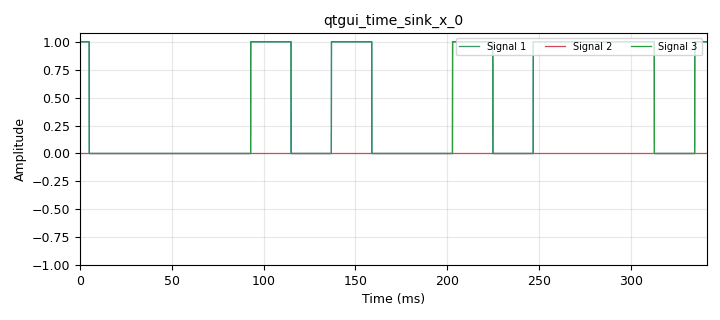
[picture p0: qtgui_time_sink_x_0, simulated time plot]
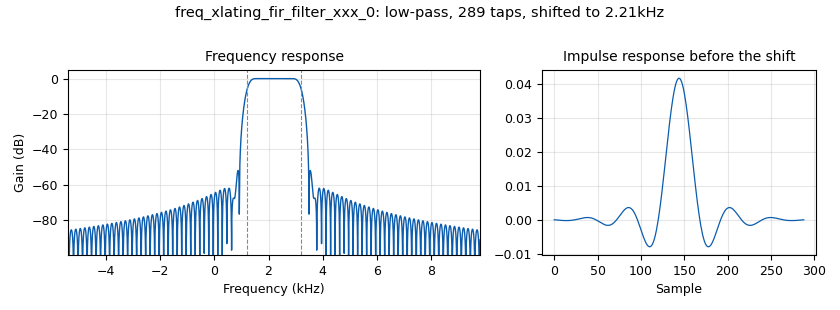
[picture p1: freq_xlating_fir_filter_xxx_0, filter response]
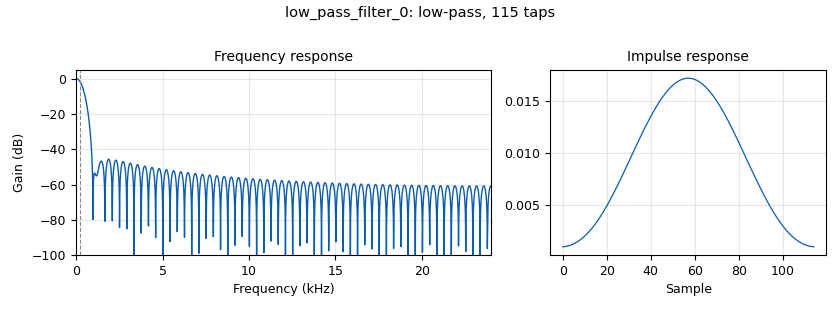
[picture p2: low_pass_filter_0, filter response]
options:
  parameters:
    author: Francisco Nicolás Pérez Fernández
    generate_options: qt_gui
    id: FSK_example
    output_language: python
    title: FSK Example
  states: {}

blocks:
- name: baud
  id: variable
  parameters:
    value: 1/(22e-3)
  states: {}
- name: center
  id: variable
  parameters:
    value: 2.21e3
  states: {}
- name: delay
  id: variable_qtgui_range
  parameters:
    label: Delay
    orient: Qt.Horizontal
    start: '0'
    step: '1'
    stop: '250'
    value: '202'
  states: {}
- name: fsk_deviation
  id: variable
  parameters:
    value: '170'
  states: {}
- name: inp_amp
  id: variable
  parameters:
    value: '68e-3'
  states: {}
- name: repeat
  id: variable
  parameters:
    value: (int)(samp_rate*0.022)
  states: {}
- name: samp_rate
  id: variable
  parameters:
    value: 48e3
  states: {}
- name: sq_lvl
  id: variable_qtgui_range
  parameters:
    label: Squelch
    orient: Qt.Horizontal
    start: '-100'
    step: '5'
    stop: '0'
    value: '-70'
  states: {}
- name: vco_max
  id: variable
  parameters:
    value: 2.5e3
  states: {}
- name: vco_offset
  id: variable
  parameters:
    value: '850e-3'
  states: {}
- name: analog_quadrature_demod_cf_0
  id: analog_quadrature_demod_cf
  parameters:
    gain: 128.177e3
  states: {}
- name: analog_random_source_x_0
  id: analog_random_source_x
  parameters:
    max: '256'
    min: '0'
    num_samps: '1024'
    repeat: 'True'
    type: byte
  states: {}
- name: analog_simple_squelch_cc_0
  id: analog_simple_squelch_cc
  parameters:
    alpha: '1'
    threshold: sq_lvl
  states: {}
- name: blocks_add_const_vxx_0
  id: blocks_add_const_vxx
  parameters:
    const: vco_offset
    type: float
  states: {}
- name: blocks_delay_0
  id: blocks_delay
  parameters:
    delay: delay
    type: float
  states: {}
- name: blocks_multiply_const_vxx_0
  id: blocks_multiply_const_vxx
  parameters:
    const: inp_amp
    type: float
  states: {}
- name: blocks_repeat_0
  id: blocks_repeat
  parameters:
    interp: (int)(samp_rate*0.022)
    type: byte
  states: {}
- name: blocks_sub_xx_0
  id: blocks_sub_xx
  parameters:
    type: float
  states: {}
- name: blocks_throttle_0
  id: blocks_throttle
  parameters:
    samples_per_second: samp_rate
    type: byte
  states: {}
- name: blocks_uchar_to_float_0
  id: blocks_uchar_to_float
  parameters: {}
  states: {}
- name: blocks_uchar_to_float_1
  id: blocks_uchar_to_float
  parameters: {}
  states: {}
- name: blocks_unpack_k_bits_bb_0
  id: blocks_unpack_k_bits_bb
  parameters:
    k: '8'
  states: {}
- name: blocks_vco_f_0
  id: blocks_vco_f
  parameters:
    amplitude: '500e-3'
    samp_rate: 48e3
    sensitivity: 2 * math.pi * vco_max
  states: {}
- name: digital_binary_slicer_fb_0
  id: digital_binary_slicer_fb
  parameters: {}
  states: {}
- name: freq_xlating_fir_filter_xxx_0
  id: freq_xlating_fir_filter_xxx
  parameters:
    center_freq: center
    decim: '1'
    samp_rate: samp_rate
    taps: firdes.low_pass(1.0,samp_rate,1000,400)
    type: fcc
  states: {}
- name: low_pass_filter_0
  id: low_pass_filter
  parameters:
    cutoff_freq: '200'
    decim: '1'
    gain: '1'
    samp_rate: samp_rate
    type: fir_filter_fff
    width: 1e3
    win: firdes.WIN_HAMMING
  states: {}
- name: qtgui_time_sink_x_0
  id: qtgui_time_sink_x
  parameters:
    grid: 'True'
    nconnections: '3'
    size: '16384'
    srate: samp_rate
    type: float
    update_time: '0.00001'
  states: {}
- name: virtual_sink_0
  id: virtual_sink
  parameters:
    stream_id: xmt_data
  states: {}
- name: virtual_sink_1
  id: virtual_sink
  parameters:
    stream_id: fsk_out
  states: {}
- name: virtual_source_0
  id: virtual_source
  parameters:
    stream_id: xmt_data
  states: {}
- name: virtual_source_0_0
  id: virtual_source
  parameters:
    stream_id: fsk_out
  states: {}
- name: virtual_source_0_1
  id: virtual_source
  parameters:
    stream_id: xmt_data
  states: {}

connections:
- [analog_quadrature_demod_cf_0, '0', digital_binary_slicer_fb_0, '0']
- [analog_random_source_x_0, '0', blocks_unpack_k_bits_bb_0, '0']
- [analog_simple_squelch_cc_0, '0', analog_quadrature_demod_cf_0, '0']
- [blocks_add_const_vxx_0, '0', blocks_vco_f_0, '0']
- [blocks_delay_0, '0', blocks_sub_xx_0, '1']
- [blocks_delay_0, '0', qtgui_time_sink_x_0, '2']
- [blocks_multiply_const_vxx_0, '0', blocks_add_const_vxx_0, '0']
- [blocks_repeat_0, '0', blocks_throttle_0, '0']
- [blocks_sub_xx_0, '0', qtgui_time_sink_x_0, '1']
- [blocks_throttle_0, '0', blocks_uchar_to_float_0, '0']
- [blocks_uchar_to_float_0, '0', virtual_sink_0, '0']
- [blocks_uchar_to_float_1, '0', blocks_sub_xx_0, '0']
- [blocks_uchar_to_float_1, '0', qtgui_time_sink_x_0, '0']
- [blocks_unpack_k_bits_bb_0, '0', blocks_repeat_0, '0']
- [blocks_vco_f_0, '0', virtual_sink_1, '0']
- [digital_binary_slicer_fb_0, '0', blocks_uchar_to_float_1, '0']
- [freq_xlating_fir_filter_xxx_0, '0', analog_simple_squelch_cc_0, '0']
- [low_pass_filter_0, '0', blocks_multiply_const_vxx_0, '0']
- [virtual_source_0, '0', low_pass_filter_0, '0']
- [virtual_source_0_0, '0', freq_xlating_fir_filter_xxx_0, '0']
- [virtual_source_0_1, '0', blocks_delay_0, '0']

metadata:
  file_format: 1
